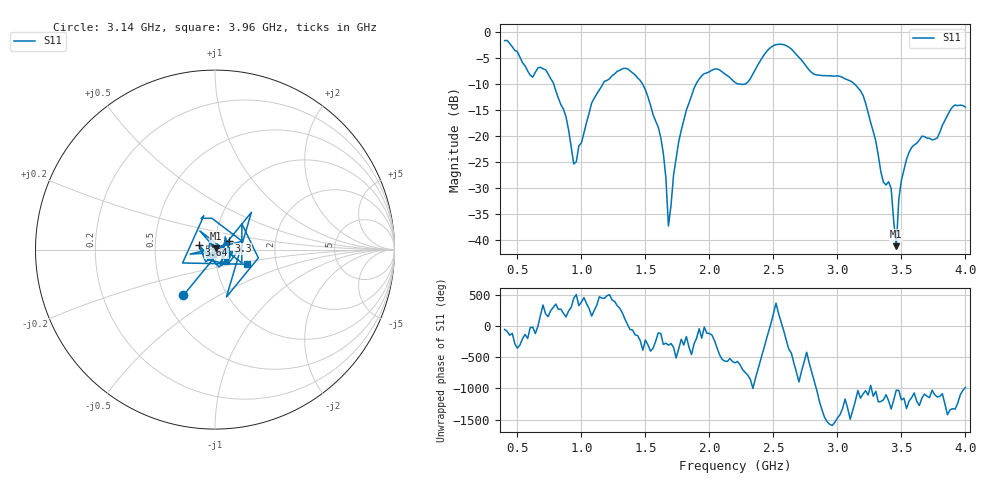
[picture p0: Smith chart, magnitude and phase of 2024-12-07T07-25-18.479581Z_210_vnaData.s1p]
!Created with skrf (http://scikit-rf.org).
# Hz S RI R 50.0
!freq ReS11 ImS11
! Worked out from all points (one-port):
!   181 points, 400 MHz to 4 GHz, reference 50 ohm
!   lowest |S11| = -41.1 dB at 3.46 GHz (marker M1), VSWR 1.02, Z = 50.5 + j0.694 ohm
!   |S11| at or under -10 dB: 783 MHz to 1.169 GHz (385.9 MHz wide, 39.5 % of centre); 1.477 GHz to 1.897 GHz (420.2 MHz wide, 24.9 % of centre); 3.132 GHz to end of sweep (the widest 3 of 4)
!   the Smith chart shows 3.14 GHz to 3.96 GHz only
!   S11 on the Smith chart (normalised r, x): 3.14 GHz: 0.62, -0.35; 3.3 GHz: 1.16, +0.11; 3.64 GHz: 0.84, +0.04; 3.96 GHz: 1.41, -0.24
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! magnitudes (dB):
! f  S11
! 400 MHz  -1.7
! 620 MHz  -8.7
! 720 MHz  -7.3
! 860 MHz  -14.9
! 940 MHz  -25.4
! 1.08 GHz  -13.7
! 1.3 GHz  -7.4
! 1.46 GHz  -9.4
! 1.6 GHz  -18.3
! 1.66 GHz  -28.0
! 1.68 GHz  -37.3
! 1.76 GHz  -21.1
! 1.94 GHz  -8.5
! 2.2 GHz  -9.7
! 2.5 GHz  -2.7
! 2.66 GHz  -3.8
! 3.1 GHz  -9.4
! 3.14 GHz  -10.2
! 3.3 GHz  -21.0
! 3.36 GHz  -28.9
! 3.42 GHz  -30.1
! 3.46 GHz  -41.1
! 3.48 GHz  -32.1
! 3.56 GHz  -23.2
! 3.64 GHz  -20.8
! 3.78 GHz  -20.4
! 3.96 GHz  -14.1
! 4 GHz  -14.5
